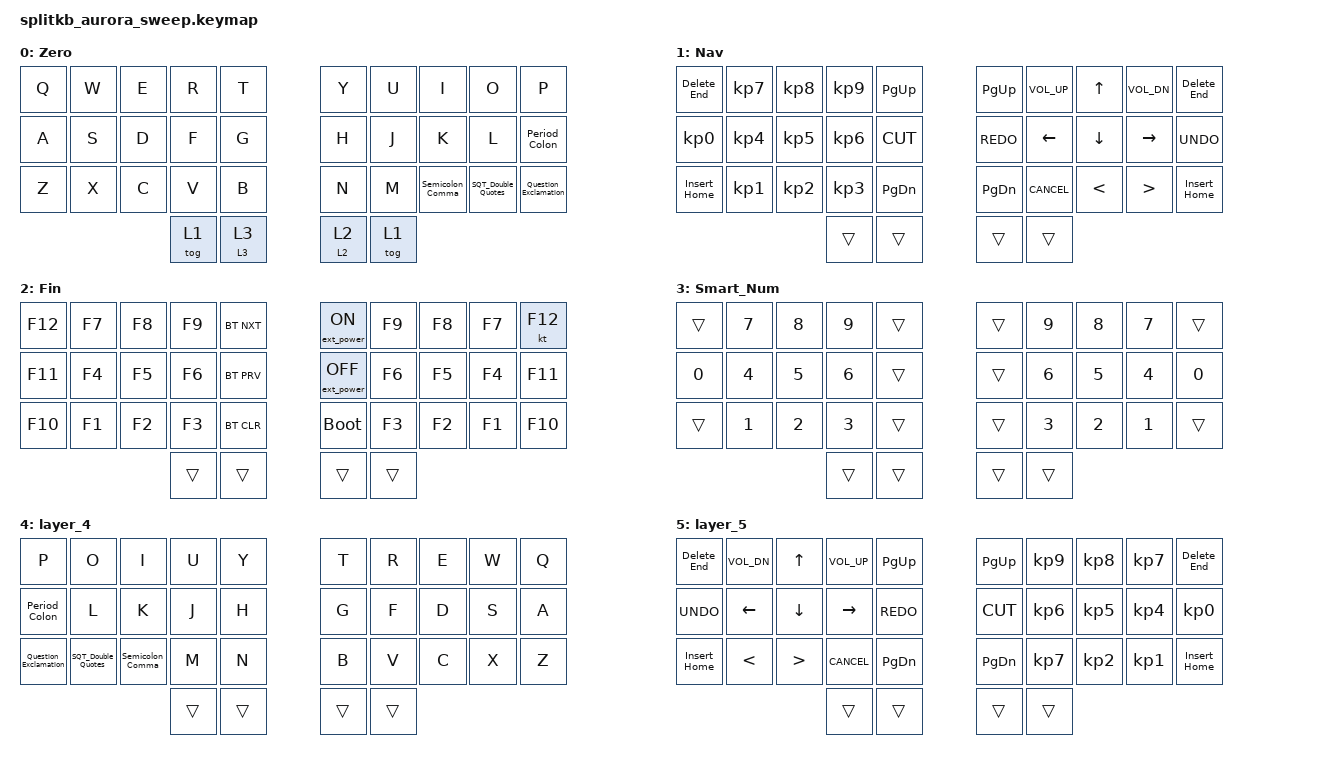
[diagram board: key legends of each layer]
/*
 * Copyright (c) 2022 The ZMK Contributors
 *
 * SPDX-License-Identifier: MIT
 */

#include <behaviors.dtsi>
#include <dt-bindings/zmk/bt.h>
#include <dt-bindings/zmk/ext_power.h>
#include <dt-bindings/zmk/keys.h>
#include <dt-bindings/zmk/keys.h>

&mt {
    //  flavor = "tap-preferred";
    // tapping_term_ms = <200>;

    flavor = "balanced";
};

&sk { release-after-ms = <900>; };

&sl {
    ignore-modifiers;

    /delete-property/ quick-release;
};

&lt {
    flavor = "balanced";
    quick-tap-ms = <900>;
};

&caps_word { continue-list = <DELETE>; };

/ {
    combos {
        compatible = "zmk,combos";

        Backspace {
            bindings = <&Hml LSHFT BACKSPACE>;
            key-positions = <12 11>;
        };

        Escape {
            bindings = <&kp ESCAPE>;
            key-positions = <0 1>;
        };

        Pound {
            bindings = <&kp POUND>;
            key-positions = <2 12>;
        };

        At_sign {
            bindings = <&kp AT_SIGN>;
            key-positions = <1 11>;
        };

        Dollar {
            bindings = <&kp DOLLAR>;
            key-positions = <3 13>;
        };

        Left_Brace {
            bindings = <&kp LEFT_BRACE>;
            key-positions = <1 2>;
        };

        Left_Enter {
            bindings = <&Hml RGUI ENTER>;
            key-positions = <13 14>;
        };

        Backslash {
            bindings = <&kp BACKSLASH>;
            key-positions = <12 22>;
        };

        Dot {
            bindings = <&kp PERIOD>;
            key-positions = <21 11>;
        };

        Equal {
            bindings = <&kp EQUAL>;
            key-positions = <13 23>;
        };

        Copy {
            bindings = <&kp K_COPY>;
            key-positions = <21 22>;
        };

        Paste {
            bindings = <&kp K_PASTE>;
            key-positions = <22 23>;
        };

        Percent {
            bindings = <&kp PERCENT>;
            key-positions = <4 14>;
        };

        Tiled {
            bindings = <&kp TILDE>;
            key-positions = <14 24>;
        };

        Left_Backspace {
            bindings = <&Hmr RSHFT BACKSPACE>;
            key-positions = <17 18>;
        };

        Delete {
            bindings = <&kp DELETE>;
            key-positions = <8 9>;
        };

        Multiply {
            bindings = <&kp ASTRK>;
            key-positions = <7 17>;
        };

        Plus {
            bindings = <&kp PLUS>;
            key-positions = <6 16>;
        };

        Ampersand {
            bindings = <&kp AMPERSAND>;
            key-positions = <8 18>;
        };

        L_parentheses {
            bindings = <&kp LEFT_PARENTHESIS>;
            key-positions = <6 7>;
        };

        R_parentheses {
            bindings = <&kp RIGHT_PARENTHESIS>;
            key-positions = <7 8>;
        };

        Slash {
            bindings = <&kp SLASH>;
            key-positions = <17 27>;
        };

        Subtract {
            bindings = <&kp MINUS>;
            key-positions = <16 26>;
        };

        Pipe {
            bindings = <&kp PIPE>;
            key-positions = <18 28>;
        };

        Left_bracket {
            bindings = <&kp LEFT_BRACKET>;
            key-positions = <27 26>;
        };

        Right_Bracket {
            bindings = <&kp RIGHT_BRACKET>;
            key-positions = <27 28>;
        };

        Catet {
            bindings = <&kp CARET>;
            key-positions = <5 15>;
        };

        Underscore {
            bindings = <&kp UNDERSCORE>;
            key-positions = <15 25>;
        };

        Lshift {
            bindings = <&Hmr LALT TAB>;
            key-positions = <10 11>;
        };

        Rshift {
            bindings = <&Hmr RALT TAB>;
            key-positions = <18 19>;
        };

        LCaps_lock {
            bindings = <&kp CAPSLOCK>;
            key-positions = <1 2 3>;
        };

        RCaps_lock {
            bindings = <&kp CAPSLOCK>;
            key-positions = <8 7 6>;
        };

        Left_Space {
            bindings = <&Hml LCTRL SPACE>;
            key-positions = <13 12>;
        };

        Right_Enter {
            bindings = <&Hmr RGUI ENTER>;
            key-positions = <16 15>;
        };

        Right_Brace {
            bindings = <&kp RIGHT_BRACE>;
            key-positions = <2 3>;
        };

        Right_Space {
            bindings = <&Hmr RCTRL SPACE>;
            key-positions = <17 16>;
        };

        Left_num_lock {
            bindings = <&kp KP_NUMLOCK>;
            key-positions = <3 4>;
            layers = <1 5>;
        };

        Right_num_lock {
            bindings = <&kp KP_NUMLOCK>;
            key-positions = <5 6>;
            layers = <1 5>;
        };

        Mute {
            bindings = <&kp K_MUTE>;
            key-positions = <6 8>;
            layers = <1>;
        };

        Swap_left_to_right_RH {
            bindings = <&tog 4>;
            key-positions = <18 17 16>;
            layers = <0 4>;
        };

        Swap_left_to_right_LH {
            bindings = <&tog 4>;
            key-positions = <12 11 13>;
            layers = <0 4>;
        };

        Swap_left_to_right_RH_Nav1 {
            bindings = <&tog 5>;
            key-positions = <26 27 28>;
            layers = <1 5>;
        };

        Swap_left_to_right_LH_Nav1 {
            bindings = <&tog 5>;
            key-positions = <21 22 23>;
            layers = <1 5>;
        };

        Back_Tab_L {
            bindings = <&Back_Tab>;
            key-positions = <20 21>;
        };

        Back_Tab_R {
            bindings = <&Back_Tab>;
            key-positions = <29 28>;
        };

        Grave {
            bindings = <&kp GRAVE>;
            key-positions = <0 10>;
        };

        Smart_shift {
            bindings = <&caps_word>;
            key-positions = <10 20>;
        };

        Less_than {
            bindings = <&kp LESS_THAN>;
            key-positions = <19 9>;
        };

        Greater_than {
            bindings = <&kp GREATER_THAN>;
            key-positions = <29 19>;
        };
    };

    behaviors {
        Smart_Num: Smart_Num {
            compatible = "zmk,behavior-hold-tap";
            label = "SMART_NUM";
            bindings = <&mo>, <&Num_dance>;

            #binding-cells = <2>;
            flavor = "balanced";
            tapping-term-ms = <200>;
            quick-tap-ms = <900>;
        };

        Num_dance: Num_dance {
            compatible = "zmk,behavior-tap-dance";
            label = "NUM_DANCE";
            #binding-cells = <0>;
            bindings = <&sl 3>;
        };

        Hml: Hml {
            compatible = "zmk,behavior-hold-tap";
            label = "HML";
            bindings = <&kp>, <&kp>;

            #binding-cells = <2>;
            flavor = "balanced";
            tapping-term-ms = <280>;
            quick-tap-ms = <175>;
            require-prior-idle-ms = <150>;
            hold-trigger-on-release;
            hold-trigger-key-positions = <33 32>;
        };

        Hmr: Hmr {
            compatible = "zmk,behavior-hold-tap";
            label = "HMR";
            bindings = <&kp>, <&kp>;

            #binding-cells = <2>;
            flavor = "balanced";
            tapping-term-ms = <280>;
            quick-tap-ms = <175>;
            require-prior-idle-ms = <150>;
            hold-trigger-on-release;
        };

        Semicolon_Comma: Semicolon_Comma {
            compatible = "zmk,behavior-tap-dance";
            label = "SEMICOLON_COMMA";
            #binding-cells = <0>;
            bindings = <&kp COMMA>, <&kp SEMICOLON>;

            tapping-term-ms = <500>;
        };

        Question_Exclamation: Question_Exclamation {
            compatible = "zmk,behavior-tap-dance";
            label = "QUESTION_EXCLAMATION";
            #binding-cells = <0>;
            bindings = <&kp QUESTION>, <&kp EXCLAMATION>;

            tapping-term-ms = <500>;
        };

        Smart_shift: Smart_shift {
            compatible = "zmk,behavior-mod-morph";
            label = "SMART_SHIFT";
            bindings = <&sk LSHFT>, <&caps_word>;

            #binding-cells = <0>;
            mods = <(MOD_LSFT)>;
        };

        Period_Colon: Period_Colon {
            compatible = "zmk,behavior-tap-dance";
            label = "PERIOD_COLON";
            #binding-cells = <0>;
            bindings = <&kp PERIOD>, <&kp COLON>;

            tapping-term-ms = <500>;
        };

        SQT_Double_Quotes: SQT_Double_Quotes {
            compatible = "zmk,behavior-tap-dance";
            label = "SQT_DOUBLE_QUOTES";
            #binding-cells = <0>;
            bindings = <&kp SQT>, <&kp DOUBLE_QUOTES>;

            tapping-term-ms = <500>;
        };

        Tilde_Grave_Accent: Tilde_Grave_Accent {
            compatible = "zmk,behavior-tap-dance";
            label = "TILDE_GRAVE_ACCENT";
            #binding-cells = <0>;
            tapping-term-ms = <500>;
            bindings = <&kp TILDE>, <&kp GRAVE>;
        };

        Delete_End: Delete_End {
            compatible = "zmk,behavior-tap-dance";
            label = "DELETE_END";
            #binding-cells = <0>;
            tapping-term-ms = <500>;
            bindings = <&kp DELETE>, <&kp END>;
        };

        Insert_Home: Insert_Home {
            compatible = "zmk,behavior-tap-dance";
            label = "INSERT_HOME";
            #binding-cells = <0>;
            bindings = <&kp INS>, <&kp HOME>;

            tapping-term-ms = <500>;
        };

        Smart_FX: Smart_FX {
            compatible = "zmk,behavior-hold-tap";
            label = "SMART_FX";
            bindings = <&mo>, <&sl>;

            #binding-cells = <2>;
            tapping-term-ms = <200>;
            quick-tap-ms = <900>;
            flavor = "balanced";
        };
    };

    macros {
        Back_Tab: Back_Tab {
            compatible = "zmk,behavior-macro";
            #binding-cells = <0>;
            bindings = <&kp TAB &kp RSHFT>, <&macro_tap>;

            label = "BACK_TAB";
        };
    };

    keymap {
        compatible = "zmk,keymap";

        Zero {
            bindings = <
&kp Q   &kp W          &kp E  &kp R  &kp T    &kp Y  &kp U  &kp I             &kp O               &kp P
&kp A   &kp S          &kp D  &kp F  &kp G    &kp H  &kp J  &kp K             &kp L               &Period_Colon
&kp Z   &kp X          &kp C  &kp V  &kp B    &kp N  &kp M  &Semicolon_Comma  &SQT_Double_Quotes  &Question_Exclamation
&tog 1  &Smart_FX 3 3                                                         &Smart_FX 2 2       &tog 1
            >;
        };

        Nav {
            bindings = <
&Delete_End   &kp KP_N7  &kp KP_N8  &kp KP_N9  &kp PAGE_UP      &kp PAGE_UP  &kp K_VOL_UP    &kp UP_ARROW    &kp K_VOL_DN      &Delete_End
&kp KP_N0     &kp KP_N4  &kp KP_N5  &kp KP_N6  &kp K_CUT        &kp K_REDO   &kp LEFT_ARROW  &kp DOWN_ARROW  &kp RIGHT_ARROW   &kp K_UNDO
&Insert_Home  &kp KP_N1  &kp KP_N2  &kp KP_N3  &kp PAGE_DOWN    &kp PG_DN    &kp K_CANCEL    &kp LESS_THAN   &kp GREATER_THAN  &Insert_Home
&trans        &trans                                                                                         &trans            &trans
            >;
        };

        Fin {
            bindings = <
&kp F12  &kp F7  &kp F8  &kp F9  &bt BT_NXT    &ext_power EP_ON   &kp F9  &kp F8  &kp F7  &kt F12
&kp F11  &kp F4  &kp F5  &kp F6  &bt BT_PRV    &ext_power EP_OFF  &kp F6  &kp F5  &kp F4  &kp F11
&kp F10  &kp F1  &kp F2  &kp F3  &bt BT_CLR    &bootloader        &kp F3  &kp F2  &kp F1  &kp F10
&trans   &trans                                                                   &trans  &trans
            >;
        };

        Smart_Num {
            bindings = <
&trans  &kp N7  &kp N8  &kp N9  &trans    &trans  &kp N9  &kp N8  &kp N7  &trans
&kp N0  &kp N4  &kp N5  &kp N6  &trans    &trans  &kp N6  &kp N5  &kp N4  &kp N0
&trans  &kp N1  &kp N2  &kp N3  &trans    &trans  &kp N3  &kp N2  &kp N1  &trans
&trans  &trans                                                    &trans  &trans
            >;
        };

        layer_4 {
            bindings = <
&kp P                  &kp O               &kp I             &kp U  &kp Y    &kp T  &kp R  &kp E  &kp W   &kp Q
&Period_Colon          &kp L               &kp K             &kp J  &kp H    &kp G  &kp F  &kp D  &kp S   &kp A
&Question_Exclamation  &SQT_Double_Quotes  &Semicolon_Comma  &kp M  &kp N    &kp B  &kp V  &kp C  &kp X   &kp Z
&trans                 &trans                                                                     &trans  &trans
            >;
        };

        layer_5 {
            bindings = <
&Delete_End   &kp K_VOL_DN    &kp UP_ARROW      &kp K_VOL_UP     &kp PG_UP        &kp PG_UP  &kp KP_N9  &kp KP_N8  &kp KP_N7  &Delete_End
&kp K_UNDO    &kp LEFT_ARROW  &kp DOWN_ARROW    &kp RIGHT_ARROW  &kp K_REDO       &kp K_CUT  &kp KP_N6  &kp KP_N5  &kp KP_N4  &kp KP_N0
&Insert_Home  &kp LESS_THAN   &kp GREATER_THAN  &kp K_CANCEL     &kp PAGE_DOWN    &kp PG_DN  &kp KP_N7  &kp KP_N2  &kp KP_N1  &Insert_Home
&trans        &trans                                                                                               &trans     &trans
            >;
        };
    };
};
